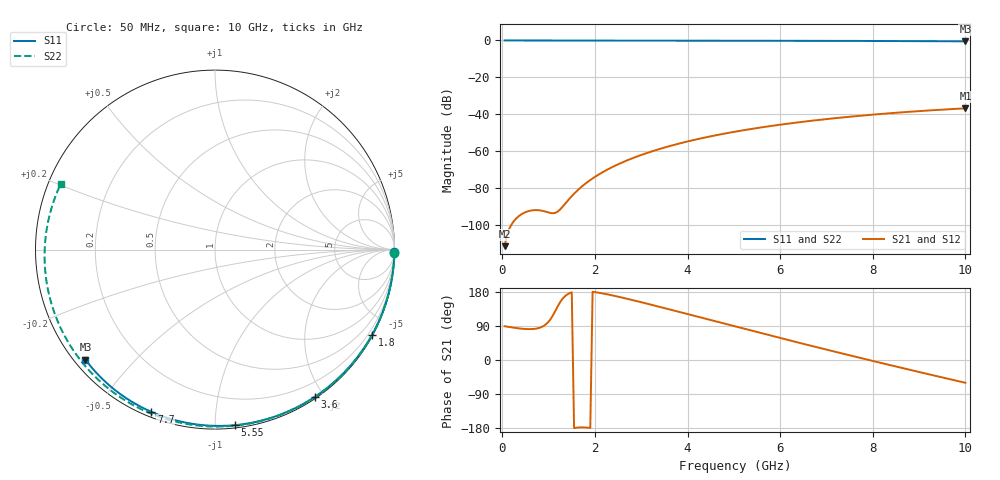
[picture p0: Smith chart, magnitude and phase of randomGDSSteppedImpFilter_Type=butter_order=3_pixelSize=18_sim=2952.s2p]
! freq	dB(S11)	phase(S11)	dB(S12)	phase(S12)
!  dB(S21)	phase(S21)	dB(S22)	phase(S22)
!S-par simulation data
#  GHz  S  DB  R 50
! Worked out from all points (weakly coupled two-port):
!   200 points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, 50 MHz to 10 GHz, reference 50 ohm
!   highest |S21| = -36.73 dB at 10 GHz (marker M1); lowest = -111.3 dB at 50 MHz (marker M2)
!   lowest |S11| = -0.5 dB at 10 GHz (marker M3), VSWR 36.71, Z = 1.55 - j18.3 ohm
!   |S11| at or under -10 dB: nowhere
!   |S22| runs from -0.6 to 0.0 dB; largest |S21 - S12| = 0
!   S11 on the Smith chart (normalised r, x): 50 MHz: open; 1.8 GHz: 0.03, -3.92; 3.6 GHz: 0.02, -1.88; 5.55 GHz: 0.02, -1.12; 7.7 GHz: 0.02, -0.68; 10 GHz: 0.03, -0.37
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0.05  -0.00 -0.8  -111.29 89.1  -111.29 89.1  -0.00 -1.2
0.4  -0.01 -6.4  -94.24 82.8  -94.24 82.8  -0.01 -9.7
0.8  -0.02 -12.8  -91.88 84.8  -91.88 84.8  -0.02 -19.4
1.2  -0.02 -19.2  -92.50 142.2  -92.50 142.2  -0.04 -28.9
1.65  -0.03 -26.3  -80.50 -178.0  -80.50 -178.0  -0.05 -39.5
1.7  -0.03 -27.1  -79.40 -177.8  -79.40 -177.8  -0.05 -40.6
1.75  -0.04 -27.9  -78.35 -177.9  -78.35 -177.9  -0.05 -41.8
1.8  -0.04 -28.6  -77.36 -178.1  -77.36 -178.1  -0.05 -42.9
2.1  -0.04 -33.3  -72.25 177.1  -72.25 177.1  -0.06 -49.8
2.5  -0.05 -39.5  -67.01 167.1  -67.01 167.1  -0.07 -58.8
2.9  -0.06 -45.5  -62.87 155.5  -62.87 155.5  -0.09 -67.6
3.4  -0.07 -53.0  -58.68 140.1  -58.68 140.1  -0.10 -78.2
3.6  -0.08 -55.9  -57.24 133.8  -57.24 133.8  -0.11 -82.4
4.3  -0.09 -66.1  -52.92 111.6  -52.92 111.6  -0.13 -96.6
5.05  -0.12 -76.6  -49.25 87.8  -49.25 87.8  -0.17 -111.3
5.55  -0.14 -83.4  -47.20 72.1  -47.20 72.1  -0.19 -120.7
6.15  -0.16 -91.5  -45.07 53.4  -45.07 53.4  -0.23 -131.9
6.7  -0.19 -98.7  -43.37 36.6  -43.37 36.6  -0.27 -141.9
7.7  -0.26 -111.4  -40.80 6.4  -40.80 6.4  -0.35 -160.0
8.35  -0.31 -119.5  -39.41 -12.8  -39.41 -12.8  -0.41 -171.8
9.2  -0.39 -129.9  -37.89 -37.4  -37.89 -37.4  -0.50 172.3
10  -0.47 -139.7  -36.73 -60.2  -36.73 -60.2  -0.59 156.8
